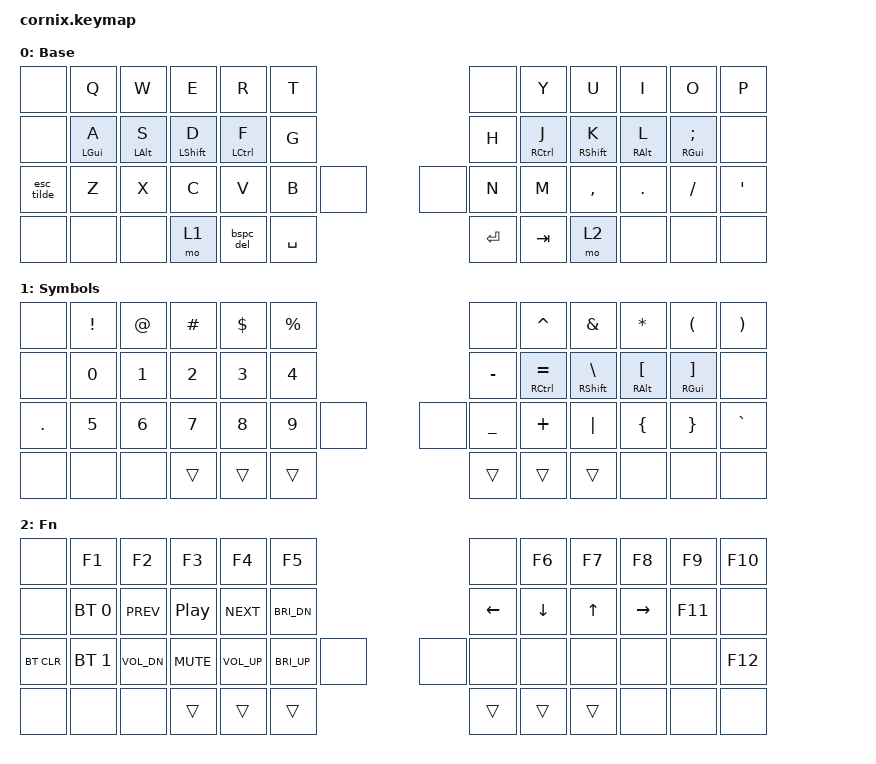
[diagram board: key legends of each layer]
/*
 * TOTEM keymap, adapted for the Cornix 50-key matrix.
 *
 * Cornix positions (see boards/jzf/cornix/cornix-layouts.dtsi):
 *   Row 0 (12):  0  1  2  3  4  5 |  6  7  8  9  10 11
 *   Row 1 (12): 12 13 14 15 16 17 | 18 19 20 21 22 23
 *   Row 2 (14): 24 25 26 27 28 29 30 | 31 32 33 34 35 36 37
 *   Row 3 (12): 38 39 40 41 42 43 | 44 45 46 47 48 49
 *
 * Key assignments match zmk-config-totem/config/totem.keymap:
 *   Base:     Q W E R T | Y U I O P
 *            LGUI-A LALT-S LSHFT-D LCTRL-F G | H RCTRL-J RSHFT-K RALT-L RGUI-SEMI
 *            ESC~ Z X C V B | N M , . / '
 *                   mo1 bspc_del SPACE | ENTER TAB mo2
 */

#include <behaviors.dtsi>
#include <dt-bindings/zmk/keys.h>
#include <dt-bindings/zmk/bt.h>

/ {
    behaviors {
        // Left-hand mods: only hold when a RIGHT-hand key is pressed
        hml: home_row_mod_left {
            compatible = "zmk,behavior-hold-tap";
            label = "HRM_LEFT";
            #binding-cells = <2>;
            flavor = "tap-preferred";
            tapping-term-ms = <250>;
            quick-tap-ms = <175>;
            require-prior-idle-ms = <120>;   // flow tap
            hold-trigger-key-positions = <6 7 8 9 10 11 18 19 20 21 22 23 31 32 33 34 35 36 37 44 45 46 47 48 49>;
            hold-trigger-on-release;
            hold-while-undecided;            // speculative hold
            bindings = <&kp>, <&kp>;
        };

        // Right-hand mods: only hold when a LEFT-hand key is pressed
        hmr: home_row_mod_right {
            compatible = "zmk,behavior-hold-tap";
            label = "HRM_RIGHT";
            #binding-cells = <2>;
            flavor = "tap-preferred";
            tapping-term-ms = <250>;
            quick-tap-ms = <175>;
            require-prior-idle-ms = <120>;   // flow tap
            hold-trigger-key-positions = <0 1 2 3 4 5 12 13 14 15 16 17 24 25 26 27 28 29 30 38 39 40 41 42 43>;
            hold-trigger-on-release;
            hold-while-undecided;            // speculative hold
            bindings = <&kp>, <&kp>;
        };

        esc_tilde: esc_tilde {
            compatible = "zmk,behavior-mod-morph";
            #binding-cells = <0>;
            bindings = <&kp ESC>, <&kp GRAVE>;
            mods = <(MOD_LSFT|MOD_RSFT)>;
            keep-mods = <(MOD_LSFT|MOD_RSFT)>;
        };

        bspc_del: backspace_delete {
            compatible = "zmk,behavior-mod-morph";
            #binding-cells = <0>;
            bindings = <&kp BACKSPACE>, <&kp DELETE>;
            mods = <(MOD_LSFT|MOD_RSFT)>;
        };
    };

    keymap {
        compatible = "zmk,keymap";

        Base {
            label = "Base";
            bindings = <
                        &none          &kp Q        &kp W        &kp E         &kp R         &kp T                     &none          &kp Y        &kp U        &kp I         &kp O        &kp P
                        &none          &hml LGUI A  &hml LALT S  &hml LSHFT D  &hml LCTRL F  &kp G                     &kp H        &hmr RCTRL J  &hmr RSHFT K  &hmr RALT L   &hmr RGUI SEMI  &none
            &esc_tilde      &kp Z        &kp X        &kp C         &kp V         &kp B        &none          &none          &kp N        &kp M        &kp COMMA     &kp DOT      &kp SLASH     &kp SQT
                        &none          &none        &none        &mo 1         &bspc_del     &kp SPACE                     &kp ENTER    &kp TAB      &mo 2         &none          &none          &none
            >;
        };

        Symbols {
            label = "Symbols";
            bindings = <
                        &none          &kp EXCL     &kp AT       &kp HASH      &kp DLLR      &kp PRCNT                 &none          &kp CARET    &kp AMPS      &kp STAR      &kp LPAR     &kp RPAR
                        &none          &kp N0       &kp N1       &kp N2        &kp N3        &kp N4                    &kp MINUS    &hmr RCTRL EQUAL &hmr RSHFT BSLH &hmr RALT LBKT &hmr RGUI RBKT  &none
            &kp DOT     &kp N5       &kp N6       &kp N7        &kp N8        &kp N9        &none          &none          &kp UNDER    &kp PLUS      &kp PIPE      &kp LBRC     &kp RBRC      &kp GRAVE
                        &none          &none        &none        &trans        &trans        &trans                        &trans        &trans        &trans         &none          &none          &none
            >;
        };

        Fn {
            label = "Fn";
            bindings = <
                        &none          &kp F1       &kp F2       &kp F3        &kp F4        &kp F5                    &none          &kp F6       &kp F7        &kp F8        &kp F9        &kp F10
                        &none          &bt BT_SEL 0 &kp C_PREV   &kp C_PP      &kp C_NEXT    &kp C_BRI_DN              &kp LEFT     &kp DOWN      &kp UP        &kp RIGHT    &kp F11      &none
            &bt BT_CLR &bt BT_SEL 1 &kp C_VOL_DN &kp C_MUTE   &kp C_VOL_UP  &kp C_BRI_UP  &none          &none          &none          &none         &none         &none         &none          &kp F12
                        &none          &none        &none        &trans        &trans        &trans                        &trans        &trans        &trans         &none          &none          &none
            >;
        };
    };
};
